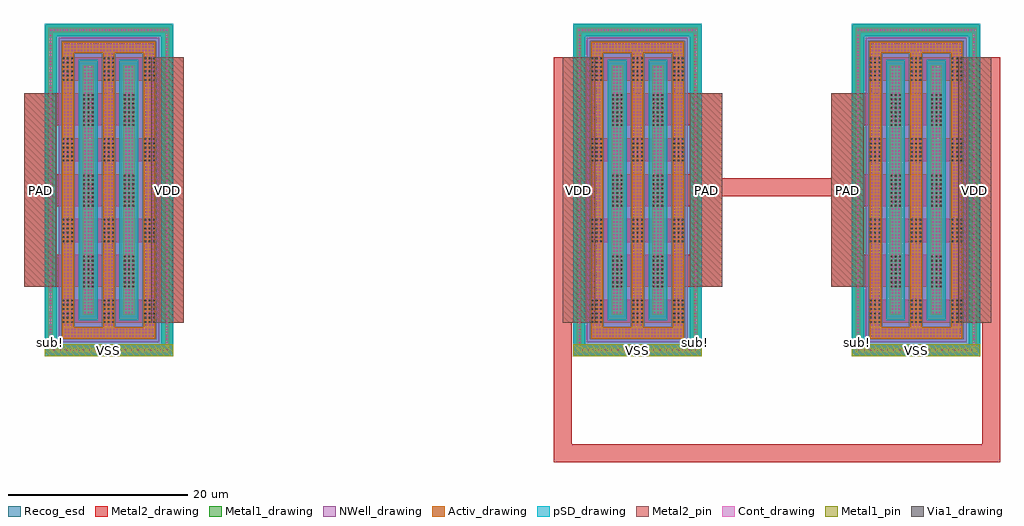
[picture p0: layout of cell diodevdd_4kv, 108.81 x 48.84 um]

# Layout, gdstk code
import gdstk
lib = gdstk.Library(unit=1e-6, precision=1e-09)
def R(c, l, rs):  # rectangles x0, y0, x1, y1
    for r in rs: c.add(gdstk.rectangle(r[:2], r[2:], *l))
def A(c, l, x, y, w, h, nx, ny, dx, dy):  # array of equal rectangles
    R(c, l, [(x+i*dx, y+j*dy, x+i*dx+w, y+j*dy+h) for i in range(nx) for j in range(ny)])
def P(c, l, *ps):  # polygons
    for p in ps: c.add(gdstk.Polygon(p, *l))
Activ_drawing = (1, 0)
Cont_drawing = (6, 0)
Metal1_drawing = (8, 0)
Metal1_pin = (8, 2)
Metal2_drawing = (10, 0)
Metal2_pin = (10, 2)
pSD_drawing = (14, 0)
Via1_drawing = (19, 0)
NWell_drawing = (31, 0)
Recog_esd = (99, 30)

diodevdd_4kv = lib.new_cell('diodevdd_4kv')
R(diodevdd_4kv, Activ_drawing, [(4.23,4.65,5.49,32.43), (8.76,4.65,10.02,32.43), (63.222,4.65,64.482,32.43), (67.752,4.65,69.012,32.43), (94.23,4.65,95.49,32.43), (98.76,4.65,100.02,32.43)])
P(diodevdd_4kv, Activ_drawing, [(60.932,1.98),(60.932,35.07),(71.262,35.07),(71.262,3.24),(70.002,3.24),(70.002,33.81),(66.732,33.81),(66.732,3.24),(65.472,3.24),(65.472,33.81),(62.192,33.81),(62.192,3.24),(71.262,3.24),(71.262,1.98)],
  [(59.342,0.45),(59.342,36.6),(72.822,36.6),(72.822,0.93),(72.342,0.93),(72.342,36.12),(59.822,36.12),(59.822,0.93),(72.822,0.93),(72.822,0.45)],
  [(91.98,1.98),(91.98,3.24),(101.05,3.24),(101.05,33.81),(97.77,33.81),(97.77,3.24),(96.51,3.24),(96.51,33.81),(93.24,33.81),(93.24,3.24),(91.98,3.24),(91.98,35.07),(102.31,35.07),(102.31,1.98)],
  [(90.42,0.45),(90.42,0.93),(103.42,0.93),(103.42,36.12),(90.9,36.12),(90.9,0.93),(90.42,0.93),(90.42,36.6),(103.9,36.6),(103.9,0.45)],
  [(1.98,1.98),(1.98,3.24),(11.05,3.24),(11.05,33.81),(7.77,33.81),(7.77,3.24),(6.51,3.24),(6.51,33.81),(3.24,33.81),(3.24,3.24),(1.98,3.24),(1.98,35.07),(12.31,35.07),(12.31,1.98)],
  [(0.42,0.45),(0.42,0.93),(13.42,0.93),(13.42,36.12),(0.9,36.12),(0.9,0.93),(0.42,0.93),(0.42,36.6),(13.9,36.6),(13.9,0.45)])
A(diodevdd_4kv, Cont_drawing, 0.62, 0.61, 0.16, 0.16, 37, 2, 0.36, 35.67)
A(diodevdd_4kv, Cont_drawing, 59.502, 0.61, 0.16, 0.16, 37, 2, 0.36, 35.67)
A(diodevdd_4kv, Cont_drawing, 90.62, 0.61, 0.16, 0.16, 37, 2, 0.36, 35.67)
A(diodevdd_4kv, Cont_drawing, 0.58, 1.105, 0.16, 0.16, 1, 97, 0, 0.36)
A(diodevdd_4kv, Cont_drawing, 13.54, 1.105, 0.16, 0.16, 1, 97, 0, 0.36)
A(diodevdd_4kv, Cont_drawing, 59.542, 1.105, 0.16, 0.16, 1, 97, 0, 0.36)
A(diodevdd_4kv, Cont_drawing, 72.502, 1.105, 0.16, 0.16, 1, 97, 0, 0.36)
A(diodevdd_4kv, Cont_drawing, 90.58, 1.105, 0.16, 0.16, 1, 97, 0, 0.36)
A(diodevdd_4kv, Cont_drawing, 103.54, 1.105, 0.16, 0.16, 1, 97, 0, 0.36)
A(diodevdd_4kv, Cont_drawing, 2.235, 2.19, 0.16, 0.16, 28, 3, 0.36, 0.36)
A(diodevdd_4kv, Cont_drawing, 61.127, 2.19, 0.16, 0.16, 28, 3, 0.36, 0.36)
A(diodevdd_4kv, Cont_drawing, 92.235, 2.19, 0.16, 0.16, 28, 3, 0.36, 0.36)
A(diodevdd_4kv, Cont_drawing, 2.165, 3.405, 0.16, 0.16, 3, 85, 0.36, 0.36)
A(diodevdd_4kv, Cont_drawing, 6.725, 3.405, 0.16, 0.16, 3, 85, 0.36, 0.36)
A(diodevdd_4kv, Cont_drawing, 11.285, 3.405, 0.16, 0.16, 3, 85, 0.36, 0.36)
A(diodevdd_4kv, Cont_drawing, 61.077, 3.405, 0.16, 0.16, 3, 85, 0.36, 0.36)
A(diodevdd_4kv, Cont_drawing, 65.637, 3.405, 0.16, 0.16, 3, 85, 0.36, 0.36)
A(diodevdd_4kv, Cont_drawing, 70.197, 3.405, 0.16, 0.16, 3, 85, 0.36, 0.36)
A(diodevdd_4kv, Cont_drawing, 92.165, 3.405, 0.16, 0.16, 3, 85, 0.36, 0.36)
A(diodevdd_4kv, Cont_drawing, 96.725, 3.405, 0.16, 0.16, 3, 85, 0.36, 0.36)
A(diodevdd_4kv, Cont_drawing, 101.285, 3.405, 0.16, 0.16, 3, 85, 0.36, 0.36)
A(diodevdd_4kv, Cont_drawing, 4.44, 4.81, 0.16, 0.16, 3, 77, 0.36, 0.36)
A(diodevdd_4kv, Cont_drawing, 8.97, 4.81, 0.16, 0.16, 3, 77, 0.36, 0.36)
A(diodevdd_4kv, Cont_drawing, 63.392, 4.81, 0.16, 0.16, 3, 77, 0.36, 0.36)
A(diodevdd_4kv, Cont_drawing, 67.922, 4.81, 0.16, 0.16, 3, 77, 0.36, 0.36)
A(diodevdd_4kv, Cont_drawing, 94.44, 4.81, 0.16, 0.16, 3, 77, 0.36, 0.36)
A(diodevdd_4kv, Cont_drawing, 98.97, 4.81, 0.16, 0.16, 3, 77, 0.36, 0.36)
A(diodevdd_4kv, Cont_drawing, 2.235, 34.02, 0.16, 0.16, 28, 3, 0.36, 0.36)
A(diodevdd_4kv, Cont_drawing, 61.127, 34.02, 0.16, 0.16, 28, 3, 0.36, 0.36)
A(diodevdd_4kv, Cont_drawing, 92.235, 34.02, 0.16, 0.16, 28, 3, 0.36, 0.36)
R(diodevdd_4kv, Metal1_drawing, [(3.96,4.35,5.76,32.7), (8.49,4.35,10.29,32.7), (62.952,4.35,64.752,32.7), (67.482,4.35,69.282,32.7), (93.96,4.35,95.76,32.7), (98.49,4.35,100.29,32.7)])
P(diodevdd_4kv, Metal1_drawing, [(60.782,1.89),(60.782,35.16),(71.412,35.16),(71.412,3.3),(69.882,3.3),(69.882,33.75),(66.882,33.75),(66.882,3.3),(65.322,3.3),(65.322,33.75),(62.342,33.75),(62.342,3.3),(71.412,3.3),(71.412,1.89)],
  [(58.922,0),(58.922,37.05),(73.242,37.05),(73.242,1.35),(71.892,1.35),(71.892,35.7),(60.242,35.7),(60.242,1.35),(73.242,1.35),(73.242,0)],
  [(91.83,1.89),(91.83,3.3),(100.9,3.3),(100.9,33.75),(97.92,33.75),(97.92,3.3),(96.36,3.3),(96.36,33.75),(93.36,33.75),(93.36,3.3),(91.83,3.3),(91.83,35.16),(102.46,35.16),(102.46,1.89)],
  [(90,0),(90,1.35),(103,1.35),(103,35.7),(91.35,35.7),(91.35,1.35),(90,1.35),(90,37.05),(104.32,37.05),(104.32,0)],
  [(1.83,1.89),(1.83,3.3),(10.9,3.3),(10.9,33.75),(7.92,33.75),(7.92,3.3),(6.36,3.3),(6.36,33.75),(3.36,33.75),(3.36,3.3),(1.83,3.3),(1.83,35.16),(12.46,35.16),(12.46,1.89)],
  [(0,0),(0,1.35),(13,1.35),(13,35.7),(1.35,35.7),(1.35,1.35),(0,1.35),(0,37.05),(14.32,37.05),(14.32,0)])
R(diodevdd_4kv, Metal1_pin, [(0,0,14.32,1.35), (58.922,0,73.242,1.35), (90,0,104.32,1.35)])
P(diodevdd_4kv, Metal2_drawing, [(57.737,3.715),(57.737,33.315),(71.287,33.315),(71.287,30.715),(61.382,30.715),(61.382,24.315),(71.287,24.315),(71.287,21.715),(61.382,21.715),(61.382,15.315),(71.287,15.315),(71.287,12.715),(61.382,12.715),(61.382,6.315),(71.287,6.315),(71.287,3.715)],
  [(63.207,7.675),(63.207,11.235),(63.702,11.235),(63.702,11.295),(71.937,11.295),(71.937,16.735),(68.987,16.735),(68.987,16.675),(67.737,16.675),(67.737,16.735),(64.457,16.735),(64.457,16.675),(63.207,16.675),(63.207,20.235),(63.702,20.235),(63.702,20.295),(71.937,20.295),(71.937,25.735),(68.987,25.735),(68.987,25.675),(67.737,25.675),(67.737,25.735),(64.457,25.735),(64.457,25.675),(63.207,25.675),(63.207,29.235),(63.702,29.235),(63.702,29.295),(75.542,29.295),(75.542,7.735),(68.987,7.735),(68.987,7.675),(67.737,7.675),(67.737,7.735),(64.457,7.735),(64.457,7.675)],
  [(91.955,3.715),(91.955,6.315),(101.86,6.315),(101.86,12.715),(91.955,12.715),(91.955,15.315),(101.86,15.315),(101.86,21.715),(91.955,21.715),(91.955,24.315),(101.86,24.315),(101.86,30.715),(91.955,30.715),(91.955,33.315),(105.505,33.315),(105.505,3.715)],
  [(94.255,7.675),(94.255,7.735),(87.7,7.735),(87.7,29.295),(99.54,29.295),(99.54,29.235),(100.035,29.235),(100.035,25.675),(98.785,25.675),(98.785,25.735),(95.505,25.735),(95.505,25.675),(94.255,25.675),(94.255,25.735),(91.305,25.735),(91.305,20.295),(99.54,20.295),(99.54,20.235),(100.035,20.235),(100.035,16.675),(98.785,16.675),(98.785,16.735),(95.505,16.735),(95.505,16.675),(94.255,16.675),(94.255,16.735),(91.305,16.735),(91.305,11.295),(99.54,11.295),(99.54,11.235),(100.035,11.235),(100.035,7.675),(98.785,7.675),(98.785,7.735),(95.505,7.735),(95.505,7.675)],
  [(1.955,3.715),(1.955,6.315),(11.86,6.315),(11.86,12.715),(1.955,12.715),(1.955,15.315),(11.86,15.315),(11.86,21.715),(1.955,21.715),(1.955,24.315),(11.86,24.315),(11.86,30.715),(1.955,30.715),(1.955,33.315),(15.505,33.315),(15.505,3.715)],
  [(4.255,7.675),(4.255,7.735),(-2.3,7.735),(-2.3,29.295),(9.54,29.295),(9.54,29.235),(10.035,29.235),(10.035,25.675),(8.785,25.675),(8.785,25.735),(5.505,25.735),(5.505,25.675),(4.255,25.675),(4.255,25.735),(1.305,25.735),(1.305,20.295),(9.54,20.295),(9.54,20.235),(10.035,20.235),(10.035,16.675),(8.785,16.675),(8.785,16.735),(5.505,16.735),(5.505,16.675),(4.255,16.675),(4.255,16.735),(1.305,16.735),(1.305,11.295),(9.54,11.295),(9.54,11.235),(10.035,11.235),(10.035,7.675),(8.785,7.675),(8.785,7.735),(5.505,7.735),(5.505,7.675)])
R(diodevdd_4kv, Metal2_pin, [(11.86,3.715,15.505,33.315), (57.737,3.715,61.382,33.315), (101.86,3.715,105.505,33.315), (-2.3,7.735,1.305,29.295), (71.937,7.735,75.542,29.295), (87.7,7.735,91.305,29.295)])
R(diodevdd_4kv, pSD_drawing, [(3.81,3.99,5.91,33.06), (8.34,3.99,10.44,33.06), (62.802,3.99,64.902,33.06), (67.332,3.99,69.432,33.06), (93.81,3.99,95.91,33.06), (98.34,3.99,100.44,33.06)])
P(diodevdd_4kv, pSD_drawing, [(58.922,0),(58.922,37.05),(73.242,37.05),(73.242,1.35),(71.892,1.35),(71.892,35.7),(60.242,35.7),(60.242,1.35),(73.242,1.35),(73.242,0)],
  [(90,0),(90,1.35),(103,1.35),(103,35.7),(91.35,35.7),(91.35,1.35),(90,1.35),(90,37.05),(104.32,37.05),(104.32,0)],
  [(0,0),(0,1.35),(13,1.35),(13,35.7),(1.35,35.7),(1.35,1.35),(0,1.35),(0,37.05),(14.32,37.05),(14.32,0)])
A(diodevdd_4kv, Via1_drawing, 2.005, 3.72, 0.19, 0.19, 3, 6, 0.48, 0.48)
A(diodevdd_4kv, Via1_drawing, 6.565, 3.72, 0.19, 0.19, 3, 6, 0.48, 0.48)
A(diodevdd_4kv, Via1_drawing, 11.125, 3.72, 0.19, 0.19, 3, 6, 0.48, 0.48)
A(diodevdd_4kv, Via1_drawing, 60.967, 3.72, 0.19, 0.19, 3, 6, 0.48, 0.48)
A(diodevdd_4kv, Via1_drawing, 65.527, 3.72, 0.19, 0.19, 3, 6, 0.48, 0.48)
A(diodevdd_4kv, Via1_drawing, 70.087, 3.72, 0.19, 0.19, 3, 6, 0.48, 0.48)
A(diodevdd_4kv, Via1_drawing, 92.005, 3.72, 0.19, 0.19, 3, 6, 0.48, 0.48)
A(diodevdd_4kv, Via1_drawing, 96.565, 3.72, 0.19, 0.19, 3, 6, 0.48, 0.48)
A(diodevdd_4kv, Via1_drawing, 101.125, 3.72, 0.19, 0.19, 3, 6, 0.48, 0.48)
A(diodevdd_4kv, Via1_drawing, 4.305, 7.68, 0.19, 0.19, 3, 8, 0.48, 0.48)
A(diodevdd_4kv, Via1_drawing, 8.835, 7.68, 0.19, 0.19, 3, 8, 0.48, 0.48)
A(diodevdd_4kv, Via1_drawing, 63.257, 7.68, 0.19, 0.19, 3, 8, 0.48, 0.48)
A(diodevdd_4kv, Via1_drawing, 67.787, 7.68, 0.19, 0.19, 3, 8, 0.48, 0.48)
A(diodevdd_4kv, Via1_drawing, 94.305, 7.68, 0.19, 0.19, 3, 8, 0.48, 0.48)
A(diodevdd_4kv, Via1_drawing, 98.835, 7.68, 0.19, 0.19, 3, 8, 0.48, 0.48)
A(diodevdd_4kv, Via1_drawing, 2.005, 12.72, 0.19, 0.19, 3, 6, 0.48, 0.48)
A(diodevdd_4kv, Via1_drawing, 6.565, 12.72, 0.19, 0.19, 3, 6, 0.48, 0.48)
A(diodevdd_4kv, Via1_drawing, 11.125, 12.72, 0.19, 0.19, 3, 6, 0.48, 0.48)
A(diodevdd_4kv, Via1_drawing, 60.967, 12.72, 0.19, 0.19, 3, 6, 0.48, 0.48)
A(diodevdd_4kv, Via1_drawing, 65.527, 12.72, 0.19, 0.19, 3, 6, 0.48, 0.48)
A(diodevdd_4kv, Via1_drawing, 70.087, 12.72, 0.19, 0.19, 3, 6, 0.48, 0.48)
A(diodevdd_4kv, Via1_drawing, 92.005, 12.72, 0.19, 0.19, 3, 6, 0.48, 0.48)
A(diodevdd_4kv, Via1_drawing, 96.565, 12.72, 0.19, 0.19, 3, 6, 0.48, 0.48)
A(diodevdd_4kv, Via1_drawing, 101.125, 12.72, 0.19, 0.19, 3, 6, 0.48, 0.48)
A(diodevdd_4kv, Via1_drawing, 4.305, 16.68, 0.19, 0.19, 3, 8, 0.48, 0.48)
A(diodevdd_4kv, Via1_drawing, 8.835, 16.68, 0.19, 0.19, 3, 8, 0.48, 0.48)
A(diodevdd_4kv, Via1_drawing, 63.257, 16.68, 0.19, 0.19, 3, 8, 0.48, 0.48)
A(diodevdd_4kv, Via1_drawing, 67.787, 16.68, 0.19, 0.19, 3, 8, 0.48, 0.48)
A(diodevdd_4kv, Via1_drawing, 94.305, 16.68, 0.19, 0.19, 3, 8, 0.48, 0.48)
A(diodevdd_4kv, Via1_drawing, 98.835, 16.68, 0.19, 0.19, 3, 8, 0.48, 0.48)
A(diodevdd_4kv, Via1_drawing, 2.005, 21.72, 0.19, 0.19, 3, 6, 0.48, 0.48)
A(diodevdd_4kv, Via1_drawing, 6.565, 21.72, 0.19, 0.19, 3, 6, 0.48, 0.48)
A(diodevdd_4kv, Via1_drawing, 11.125, 21.72, 0.19, 0.19, 3, 6, 0.48, 0.48)
A(diodevdd_4kv, Via1_drawing, 60.967, 21.72, 0.19, 0.19, 3, 6, 0.48, 0.48)
A(diodevdd_4kv, Via1_drawing, 65.527, 21.72, 0.19, 0.19, 3, 6, 0.48, 0.48)
A(diodevdd_4kv, Via1_drawing, 70.087, 21.72, 0.19, 0.19, 3, 6, 0.48, 0.48)
A(diodevdd_4kv, Via1_drawing, 92.005, 21.72, 0.19, 0.19, 3, 6, 0.48, 0.48)
A(diodevdd_4kv, Via1_drawing, 96.565, 21.72, 0.19, 0.19, 3, 6, 0.48, 0.48)
A(diodevdd_4kv, Via1_drawing, 101.125, 21.72, 0.19, 0.19, 3, 6, 0.48, 0.48)
A(diodevdd_4kv, Via1_drawing, 4.305, 25.68, 0.19, 0.19, 3, 8, 0.48, 0.48)
A(diodevdd_4kv, Via1_drawing, 8.835, 25.68, 0.19, 0.19, 3, 8, 0.48, 0.48)
A(diodevdd_4kv, Via1_drawing, 63.257, 25.68, 0.19, 0.19, 3, 8, 0.48, 0.48)
A(diodevdd_4kv, Via1_drawing, 67.787, 25.68, 0.19, 0.19, 3, 8, 0.48, 0.48)
A(diodevdd_4kv, Via1_drawing, 94.305, 25.68, 0.19, 0.19, 3, 8, 0.48, 0.48)
A(diodevdd_4kv, Via1_drawing, 98.835, 25.68, 0.19, 0.19, 3, 8, 0.48, 0.48)
A(diodevdd_4kv, Via1_drawing, 2.005, 30.72, 0.19, 0.19, 3, 6, 0.48, 0.48)
A(diodevdd_4kv, Via1_drawing, 6.565, 30.72, 0.19, 0.19, 3, 6, 0.48, 0.48)
A(diodevdd_4kv, Via1_drawing, 11.125, 30.72, 0.19, 0.19, 3, 6, 0.48, 0.48)
A(diodevdd_4kv, Via1_drawing, 60.967, 30.72, 0.19, 0.19, 3, 6, 0.48, 0.48)
A(diodevdd_4kv, Via1_drawing, 65.527, 30.72, 0.19, 0.19, 3, 6, 0.48, 0.48)
A(diodevdd_4kv, Via1_drawing, 70.087, 30.72, 0.19, 0.19, 3, 6, 0.48, 0.48)
A(diodevdd_4kv, Via1_drawing, 92.005, 30.72, 0.19, 0.19, 3, 6, 0.48, 0.48)
A(diodevdd_4kv, Via1_drawing, 96.565, 30.72, 0.19, 0.19, 3, 6, 0.48, 0.48)
A(diodevdd_4kv, Via1_drawing, 101.125, 30.72, 0.19, 0.19, 3, 6, 0.48, 0.48)
R(diodevdd_4kv, NWell_drawing, [(1.56,1.56,12.79,35.49), (60.452,1.56,71.682,35.49), (91.56,1.56,102.79,35.49)])
R(diodevdd_4kv, Recog_esd, [(0,0,14.32,37.05), (58.922,0,73.242,37.05), (90,0,104.32,37.05)])
diodevdd_4kv.add(gdstk.FlexPath([(90,18.834),(74.251,18.834)], 2, ends="flush", simple_path=True, layer=10, datatype=0))  # Metal2_drawing
diodevdd_4kv.add(gdstk.FlexPath([(57.737,33.315),(57.737,-10.793),(105.505,-10.793),(105.505,33.315)], 2, ends="flush", simple_path=True, layer=10, datatype=0))  # Metal2_drawing
diodevdd_4kv.add(gdstk.Label('VSS', (66.082,0.675), layer=63, texttype=0))
diodevdd_4kv.add(gdstk.Label('PAD', (73.742,18.517), layer=63, texttype=0))
diodevdd_4kv.add(gdstk.Label('VDD', (59.557,18.513), layer=63, texttype=0))
diodevdd_4kv.add(gdstk.Label('sub!', (72.582,1.55), layer=63, texttype=0))
diodevdd_4kv.add(gdstk.Label('diodevdd_4kv', (62.622,18.25), layer=63, texttype=0))
diodevdd_4kv.add(gdstk.Label('VSS', (97.16,0.675), layer=63, texttype=0))
diodevdd_4kv.add(gdstk.Label('PAD', (89.5,18.517), layer=63, texttype=0))
diodevdd_4kv.add(gdstk.Label('VDD', (103.685,18.513), layer=63, texttype=0))
diodevdd_4kv.add(gdstk.Label('sub!', (90.66,1.55), layer=63, texttype=0))
diodevdd_4kv.add(gdstk.Label('diodevdd_4kv', (100.62,18.25), layer=63, texttype=0))
diodevdd_4kv.add(gdstk.Label('VSS', (7.16,0.675), layer=63, texttype=0))
diodevdd_4kv.add(gdstk.Label('PAD', (-0.5,18.517), layer=63, texttype=0))
diodevdd_4kv.add(gdstk.Label('VDD', (13.685,18.513), layer=63, texttype=0))
diodevdd_4kv.add(gdstk.Label('sub!', (0.66,1.55), layer=63, texttype=0))
diodevdd_4kv.add(gdstk.Label('diodevdd_4kv', (10.62,18.25), layer=63, texttype=0))

lib.write_gds('diodevdd_4kv.gds')
